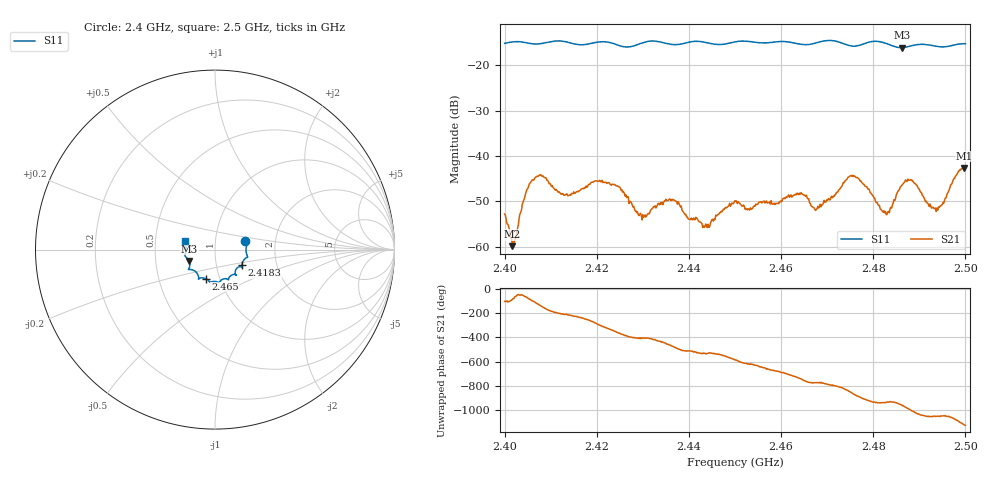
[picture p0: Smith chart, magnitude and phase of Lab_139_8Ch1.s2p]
# Hz S RI R 50
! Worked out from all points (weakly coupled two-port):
!   601 points, 2.4 GHz to 2.5 GHz, reference 50 ohm
!   highest |S21| = -42.62 dB at 2.4997 GHz (marker M1); lowest = -59.9 dB at 2.4017 GHz (marker M2)
!   lowest |S11| = -16.1 dB at 2.4862 GHz (marker M3), VSWR 1.37, Z = 37.2 - j4.81 ohm
!   |S11| at or under -10 dB: start of sweep to end of sweep
!   S12 and S22 are empty: the file has one direction only
!   S11 on the Smith chart (normalised r, x): 2.4 GHz: 1.40, +0.13; 2.4183 GHz: 1.33, -0.24; 2.465 GHz: 0.86, -0.29; 2.5 GHz: 0.71, +0.07
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2.4e9  0.1693 0.046  -0.000492 -0.00224  0 0  0 0
2.401667e9  0.1776 0.038  6.28e-05 -0.00101  0 0  0 0
2.405e9  0.1757 0.0196  0.00121 -0.00418  0 0  0 0
2.407e9  0.1725 -0.0032  -0.00299 -0.00518  0 0  0 0
2.412667e9  0.1804 -0.0429  -0.00334 0.00188  0 0  0 0
2.416667e9  0.1547 -0.068  -0.00221 0.00373  0 0  0 0
2.418333e9  0.15 -0.0871  -0.00108 0.00474  0 0  0 0
2.4245e9  0.1387 -0.0953  0.0047 5.9e-05  0 0  0 0
2.430167e9  0.1144 -0.1382  0.00153 -0.00145  0 0  0 0
2.433333e9  0.1175 -0.1412  0.00102 -0.00283  0 0  0 0
2.436833e9  0.0916 -0.143  -0.00161 -0.00283  0 0  0 0
2.4435e9  0.0707 -0.1655  -0.00167 -0.000265  0 0  0 0
2.45e9  0.025 -0.1805  -0.00222 0.00233  0 0  0 0
2.465e9  -0.0525 -0.1616  0.00298 -0.00215  0 0  0 0
2.466667e9  -0.0713 -0.1571  0.00158 -0.00228  0 0  0 0
2.4755e9  -0.1053 -0.125  -0.00483 -0.00377  0 0  0 0
2.483333e9  -0.1413 -0.0963  -0.00201 0.0014  0 0  0 0
2.486167e9  -0.1439 -0.0631  -0.00256 0.00396  0 0  0 0
2.4885e9  -0.1602 -0.0435  0.00169 0.00512  0 0  0 0
2.493833e9  -0.1619 -0.0106  0.00232 0.00132  0 0  0 0
2.499667e9  -0.168 0.0454  0.00572 -0.00469  0 0  0 0
2.5e9  -0.1674 0.0471  0.00506 -0.00534  0 0  0 0
